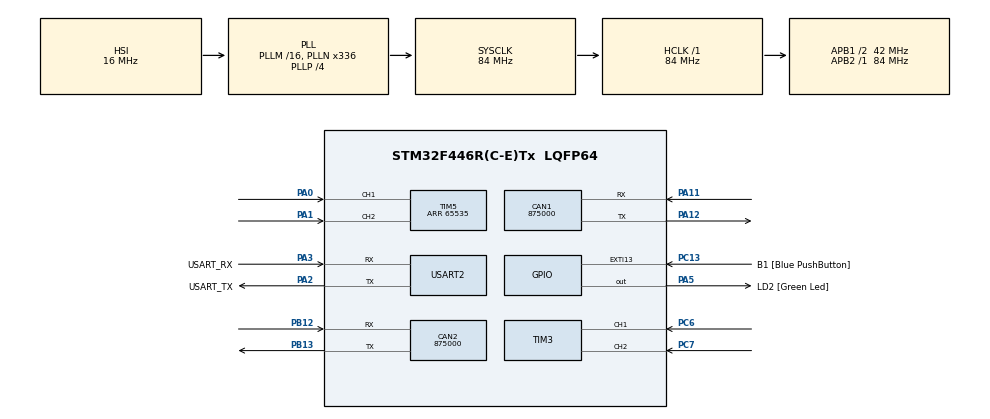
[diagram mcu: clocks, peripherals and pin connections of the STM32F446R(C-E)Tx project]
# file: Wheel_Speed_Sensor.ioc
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CAN1.CalculateBaudRate=875000
CAN1.CalculateTimeBit=1142
CAN1.CalculateTimeQuantum=380.95238095238096
CAN2.CalculateBaudRate=875000
CAN2.CalculateTimeBit=1142
CAN2.CalculateTimeQuantum=380.95238095238096
Mcu.Family=STM32F4
Mcu.Name=STM32F446R(C-E)Tx
Mcu.Package=LQFP64
NVIC.PriorityGroup=NVIC_PRIORITYGROUP_0
PA0-WKUP.Signal=S_TIM5_CH1
PA1.Signal=S_TIM5_CH2
PA11.Mode=CAN_Activate
PA11.Signal=CAN1_RX
PA12.Mode=CAN_Activate
PA12.Signal=CAN1_TX
PA13.GPIO_Label=TMS
PA13.Mode=Serial_Wire
PA13.Signal=SYS_JTMS-SWDIO
PA14.GPIO_Label=TCK
PA14.Mode=Serial_Wire
PA14.Signal=SYS_JTCK-SWCLK
PA2.GPIO_Label=USART_TX
PA2.Mode=Asynchronous
PA2.Signal=USART2_TX
PA3.GPIO_Label=USART_RX
PA3.Mode=Asynchronous
PA3.Signal=USART2_RX
PA5.GPIO_Label=LD2 [Green Led]
PA5.Signal=GPIO_Output
PB12.Mode=CAN_Activate
PB12.Signal=CAN2_RX
PB13.Mode=CAN_Activate
PB13.Signal=CAN2_TX
PB3.GPIO_Label=SWO
PB3.Signal=SYS_JTDO-SWO
PC13.GPIO_Label=B1 [Blue PushButton]
PC13.GPIO_ModeDefaultEXTI=GPIO_MODE_IT_FALLING
PC13.Signal=GPXTI13
PC14-OSC32_IN.Mode=LSE-External-Oscillator
PC14-OSC32_IN.Signal=RCC_OSC32_IN
PC15-OSC32_OUT.Mode=LSE-External-Oscillator
PC15-OSC32_OUT.Signal=RCC_OSC32_OUT
PC6.Signal=S_TIM3_CH1
PC7.Signal=S_TIM3_CH2
PH0-OSC_IN.Mode=HSE-External-Oscillator
PH0-OSC_IN.Signal=RCC_OSC_IN
PH1-OSC_OUT.Mode=HSE-External-Oscillator
PH1-OSC_OUT.Signal=RCC_OSC_OUT
ProjectManager.HeapSize=0x200
ProjectManager.StackSize=0x400
ProjectManager.TargetToolchain=STM32CubeIDE
RCC.48MHZClocksFreq_Value=84000000
RCC.AHBFreq_Value=84000000
RCC.APB1CLKDivider=RCC_HCLK_DIV2
RCC.APB1Freq_Value=42000000
RCC.APB1TimFreq_Value=84000000
RCC.APB2Freq_Value=84000000
RCC.APB2TimFreq_Value=84000000
RCC.CortexFreq_Value=84000000
RCC.FLatency-AdvancedSettings=FLASH_LATENCY_2
RCC.HCLKFreq_Value=84000000
RCC.HSE_VALUE=8000000
RCC.HSI_VALUE=16000000
RCC.PLLN=336
RCC.PLLP=RCC_PLLP_DIV4
RCC.SYSCLKFreq_VALUE=84000000
RCC.SYSCLKSource=RCC_SYSCLKSOURCE_PLLCLK
RCC.USBFreq_Value=168000000
RCC.VCOOutputFreq_Value=336000000
SH.S_TIM3_CH1.0=TIM3_CH1,Encoder_Interface
SH.S_TIM3_CH2.0=TIM3_CH2,Encoder_Interface
SH.S_TIM5_CH1.0=TIM5_CH1,Encoder_Interface
SH.S_TIM5_CH2.0=TIM5_CH2,Encoder_Interface
TIM3.AutoReloadPreload=TIM_AUTORELOAD_PRELOAD_ENABLE
TIM3.EncoderMode=TIM_ENCODERMODE_TI12
TIM5.AutoReloadPreload=TIM_AUTORELOAD_PRELOAD_ENABLE
TIM5.EncoderMode=TIM_ENCODERMODE_TI12
TIM5.Period=65535
TIM6.AutoReloadPreload=TIM_AUTORELOAD_PRELOAD_ENABLE
TIM6.Period=1000 - 1
TIM6.Prescaler=84 - 1
USART2.VirtualMode=VM_ASYNC
VP_TIM6_VS_ClockSourceINT.Mode=Enable_Timer
board=NUCLEO-F446RE

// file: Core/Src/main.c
/* USER CODE BEGIN Header */
/**
  ******************************************************************************
  * @file           : main.c
  * @brief          : Main program body
  ******************************************************************************
  * @attention
  *
  * Copyright (c) 2024 STMicroelectronics.
  * All rights reserved.
  *
  * This software is licensed under terms that can be found in the LICENSE file
  * in the root directory of this software component.
  * If no LICENSE file comes with this software, it is provided AS-IS.
  *
  ******************************************************************************
  */
/* USER CODE END Header */
#include "main.h"

/* USER CODE BEGIN PD */
#define TIMER_ELAPSED_HZ 1000 // # of times TIM6 elapses per second
#define TICKS_PER_ROTATION 84 * 4
#define RPM_to_MPH 0.06098555871
/* USER CODE END PD */

CAN_HandleTypeDef hcan1;
CAN_HandleTypeDef hcan2;

TIM_HandleTypeDef htim3;
TIM_HandleTypeDef htim5;
TIM_HandleTypeDef htim6;

UART_HandleTypeDef huart2;

/* USER CODE BEGIN PV */

// Create variables for Wheel Speed Sensor (WSS)

int32_t ticks_right = 0;
int32_t ticks_left = 0;

uint16_t wss_counter_right = 0;
uint16_t wss_counter_left = 0;

uint8_t wss_right = 0;
uint8_t wss_left = 0;

char direction_right = '+';
char direction_left = '+';

/* USER CODE END PV */

void SystemClock_Config(void);
static void MX_GPIO_Init(void);
static void MX_USART2_UART_Init(void);
static void MX_TIM3_Init(void);
static void MX_TIM5_Init(void);
static void MX_TIM6_Init(void);
static void MX_CAN1_Init(void);
static void MX_CAN2_Init(void);

/* USER CODE BEGIN 0 */

void UART_transmit(const char *string)
{
    HAL_UART_Transmit(&huart2, (uint8_t*)string, strlen(string), 1000);
}

void CAN_transmit()
{
	CAN_TxHeaderTypeDef TxHeader;
	uint8_t TxData[8];
	uint32_t TxMailbox;

	TxHeader.DLC = 8; // Data length
	TxHeader.IDE = CAN_ID_STD; // Standard ID
	TxHeader.RTR = CAN_RTR_DATA; // Data frame
	TxHeader.StdId = 0x545; // CAN ID
	TxHeader.ExtId = 0; // Not used with standard ID

	// Fill the data
	TxData[0] = wss_right;
	TxData[1] = wss_left;

	while (HAL_CAN_GetTxMailboxesFreeLevel(&hcan1) == 0) {}

	if (HAL_CAN_AddTxMessage(&hcan1, &TxHeader, TxData, &TxMailbox) != HAL_OK)
	{
		// Transmission request error
		char msg[50];
		sprintf(msg, "CAN transmit error");
		transmit_uart(msg);
		Error_Handler();
	}
}

void update_WSS_ticks(int32_t *ticks, uint16_t *prev_counter, TIM_HandleTypeDef *htim)
{
	uint16_t counter = (uint16_t) __HAL_TIM_GET_COUNTER(htim);

	if (~__HAL_TIM_IS_TIM_COUNTING_DOWN(htim)) // Check if the wheel is moving forward
	{
		if (counter > *prev_counter)
		{
			*ticks = counter - *prev_counter;
		}
		else // Check if the timer has reloaded
		{
			*ticks = counter + (__HAL_TIM_GET_AUTORELOAD(htim) - *prev_counter);
		}
	}
	else // Reverse direction
	{
		if (counter < *prev_counter)
		{
			*ticks = counter - *prev_counter;
		}
		else
		{
			*ticks = counter - (__HAL_TIM_GET_AUTORELOAD(htim) + *prev_counter);
		}
	}

	*prev_counter = counter;
}

void handle_reverse_ticks(int32_t *ticks, char *direction)
{
	if (*ticks < 0)
	{
		*ticks = 0 - *ticks; // Make the ticks positive
		*direction = '-';
	}
	else
	{
		*direction = '+';
	}
}

void HAL_TIM_PeriodElapsedCallback(TIM_HandleTypeDef *htim)
{
	// Once the 1KHz timer for sending sensor data elapses
	if (htim->Instance == TIM6)
	{

		// Update the tick values
		update_WSS_ticks(&ticks_right, &wss_counter_right, &htim3);
		update_WSS_ticks(&ticks_left, &wss_counter_left, &htim5);

		handle_reverse_ticks(&ticks_right, &direction_right);
		handle_reverse_ticks(&ticks_left, &direction_left);

		// Set the current wheel speed
		wss_right = (uint8_t) ((float) ticks_right * TIMER_ELAPSED_HZ / TICKS_PER_ROTATION * 60);
		wss_left = (uint8_t) ((float) ticks_left * TIMER_ELAPSED_HZ / TICKS_PER_ROTATION * 60);

		// Send the wheel speed data
		char send[50];
		sprintf(send, "Right: %c%d rpm  %d mph\tLeft: %c%d  %d mph\r\n", direction_right, wss_right, direction_left, wss_left, (wss_right * RPM_to_MPH), (wss_left * RPM_to_MPH));
		transmit_uart(send);

		CAN_transmit();

	}

}

/* USER CODE END 0 */

int main(void)
{

  /* MCU Configuration--------------------------------------------------------*/

  /* Reset of all peripherals, Initializes the Flash interface and the Systick. */
  HAL_Init();

  /* Configure the system clock */
  SystemClock_Config();

  /* Initialize all configured peripherals */
  MX_GPIO_Init();
  MX_USART2_UART_Init();
  MX_TIM3_Init();
  MX_TIM5_Init();
  MX_TIM6_Init();
  MX_CAN1_Init();
  MX_CAN2_Init();
  /* USER CODE BEGIN 2 */

  // Start Encoder Timers for the Wheel Speed Sensors
  HAL_TIM_Encoder_Start(&htim3, TIM_CHANNEL_ALL);
  HAL_TIM_Encoder_Start(&htim5, TIM_CHANNEL_ALL);

  /* USER CODE END 2 */

  /* Infinite loop */
  while (1)
  {

  }
}

void SystemClock_Config(void)
{
  RCC_OscInitTypeDef RCC_OscInitStruct = {0};
  RCC_ClkInitTypeDef RCC_ClkInitStruct = {0};

  /** Configure the main internal regulator output voltage
  */
  __HAL_RCC_PWR_CLK_ENABLE();
  __HAL_PWR_VOLTAGESCALING_CONFIG(PWR_REGULATOR_VOLTAGE_SCALE3);

  /** Initializes the RCC Oscillators according to the specified parameters
  * in the RCC_OscInitTypeDef structure.
  */
  RCC_OscInitStruct.OscillatorType = RCC_OSCILLATORTYPE_HSI;
  RCC_OscInitStruct.HSIState = RCC_HSI_ON;
  RCC_OscInitStruct.HSICalibrationValue = RCC_HSICALIBRATION_DEFAULT;
  RCC_OscInitStruct.PLL.PLLState = RCC_PLL_ON;
  RCC_OscInitStruct.PLL.PLLSource = RCC_PLLSOURCE_HSI;
  RCC_OscInitStruct.PLL.PLLM = 16;
  RCC_OscInitStruct.PLL.PLLN = 336;
  RCC_OscInitStruct.PLL.PLLP = RCC_PLLP_DIV4;
  RCC_OscInitStruct.PLL.PLLQ = 2;
  RCC_OscInitStruct.PLL.PLLR = 2;
  if (HAL_RCC_OscConfig(&RCC_OscInitStruct) != HAL_OK)
  {
    Error_Handler();
  }

  /** Initializes the CPU, AHB and APB buses clocks
  */
  RCC_ClkInitStruct.ClockType = RCC_CLOCKTYPE_HCLK|RCC_CLOCKTYPE_SYSCLK
                              |RCC_CLOCKTYPE_PCLK1|RCC_CLOCKTYPE_PCLK2;
  RCC_ClkInitStruct.SYSCLKSource = RCC_SYSCLKSOURCE_PLLCLK;
  RCC_ClkInitStruct.AHBCLKDivider = RCC_SYSCLK_DIV1;
  RCC_ClkInitStruct.APB1CLKDivider = RCC_HCLK_DIV2;
  RCC_ClkInitStruct.APB2CLKDivider = RCC_HCLK_DIV1;

  if (HAL_RCC_ClockConfig(&RCC_ClkInitStruct, FLASH_LATENCY_2) != HAL_OK)
  {
    Error_Handler();
  }
}

static void MX_CAN1_Init(void)
{

  hcan1.Instance = CAN1;
  hcan1.Init.Prescaler = 16;
  hcan1.Init.Mode = CAN_MODE_NORMAL;
  hcan1.Init.SyncJumpWidth = CAN_SJW_1TQ;
  hcan1.Init.TimeSeg1 = CAN_BS1_1TQ;
  hcan1.Init.TimeSeg2 = CAN_BS2_1TQ;
  hcan1.Init.TimeTriggeredMode = DISABLE;
  hcan1.Init.AutoBusOff = DISABLE;
  hcan1.Init.AutoWakeUp = DISABLE;
  hcan1.Init.AutoRetransmission = DISABLE;
  hcan1.Init.ReceiveFifoLocked = DISABLE;
  hcan1.Init.TransmitFifoPriority = DISABLE;
  if (HAL_CAN_Init(&hcan1) != HAL_OK)
  {
    Error_Handler();
  }

}

static void MX_CAN2_Init(void)
{

  hcan2.Instance = CAN2;
  hcan2.Init.Prescaler = 16;
  hcan2.Init.Mode = CAN_MODE_NORMAL;
  hcan2.Init.SyncJumpWidth = CAN_SJW_1TQ;
  hcan2.Init.TimeSeg1 = CAN_BS1_1TQ;
  hcan2.Init.TimeSeg2 = CAN_BS2_1TQ;
  hcan2.Init.TimeTriggeredMode = DISABLE;
  hcan2.Init.AutoBusOff = DISABLE;
  hcan2.Init.AutoWakeUp = DISABLE;
  hcan2.Init.AutoRetransmission = DISABLE;
  hcan2.Init.ReceiveFifoLocked = DISABLE;
  hcan2.Init.TransmitFifoPriority = DISABLE;
  if (HAL_CAN_Init(&hcan2) != HAL_OK)
  {
    Error_Handler();
  }

}

static void MX_TIM3_Init(void)
{

  TIM_Encoder_InitTypeDef sConfig = {0};
  TIM_MasterConfigTypeDef sMasterConfig = {0};

  htim3.Instance = TIM3;
  htim3.Init.Prescaler = 0;
  htim3.Init.CounterMode = TIM_COUNTERMODE_UP;
  htim3.Init.Period = 65535;
  htim3.Init.ClockDivision = TIM_CLOCKDIVISION_DIV1;
  htim3.Init.AutoReloadPreload = TIM_AUTORELOAD_PRELOAD_ENABLE;
  sConfig.EncoderMode = TIM_ENCODERMODE_TI12;
  sConfig.IC1Polarity = TIM_ICPOLARITY_RISING;
  sConfig.IC1Selection = TIM_ICSELECTION_DIRECTTI;
  sConfig.IC1Prescaler = TIM_ICPSC_DIV1;
  sConfig.IC1Filter = 0;
  sConfig.IC2Polarity = TIM_ICPOLARITY_RISING;
  sConfig.IC2Selection = TIM_ICSELECTION_DIRECTTI;
  sConfig.IC2Prescaler = TIM_ICPSC_DIV1;
  sConfig.IC2Filter = 0;
  if (HAL_TIM_Encoder_Init(&htim3, &sConfig) != HAL_OK)
  {
    Error_Handler();
  }
  sMasterConfig.MasterOutputTrigger = TIM_TRGO_RESET;
  sMasterConfig.MasterSlaveMode = TIM_MASTERSLAVEMODE_DISABLE;
  if (HAL_TIMEx_MasterConfigSynchronization(&htim3, &sMasterConfig) != HAL_OK)
  {
    Error_Handler();
  }

}

static void MX_TIM5_Init(void)
{

  TIM_Encoder_InitTypeDef sConfig = {0};
  TIM_MasterConfigTypeDef sMasterConfig = {0};

  htim5.Instance = TIM5;
  htim5.Init.Prescaler = 0;
  htim5.Init.CounterMode = TIM_COUNTERMODE_UP;
  htim5.Init.Period = 65535;
  htim5.Init.ClockDivision = TIM_CLOCKDIVISION_DIV1;
  htim5.Init.AutoReloadPreload = TIM_AUTORELOAD_PRELOAD_ENABLE;
  sConfig.EncoderMode = TIM_ENCODERMODE_TI12;
  sConfig.IC1Polarity = TIM_ICPOLARITY_RISING;
  sConfig.IC1Selection = TIM_ICSELECTION_DIRECTTI;
  sConfig.IC1Prescaler = TIM_ICPSC_DIV1;
  sConfig.IC1Filter = 0;
  sConfig.IC2Polarity = TIM_ICPOLARITY_RISING;
  sConfig.IC2Selection = TIM_ICSELECTION_DIRECTTI;
  sConfig.IC2Prescaler = TIM_ICPSC_DIV1;
  sConfig.IC2Filter = 0;
  if (HAL_TIM_Encoder_Init(&htim5, &sConfig) != HAL_OK)
  {
    Error_Handler();
  }
  sMasterConfig.MasterOutputTrigger = TIM_TRGO_RESET;
  sMasterConfig.MasterSlaveMode = TIM_MASTERSLAVEMODE_DISABLE;
  if (HAL_TIMEx_MasterConfigSynchronization(&htim5, &sMasterConfig) != HAL_OK)
  {
    Error_Handler();
  }

}

static void MX_TIM6_Init(void)
{

  TIM_MasterConfigTypeDef sMasterConfig = {0};

  htim6.Instance = TIM6;
  htim6.Init.Prescaler = 84 - 1;
  htim6.Init.CounterMode = TIM_COUNTERMODE_UP;
  htim6.Init.Period = 1000 - 1;
  htim6.Init.AutoReloadPreload = TIM_AUTORELOAD_PRELOAD_ENABLE;
  if (HAL_TIM_Base_Init(&htim6) != HAL_OK)
  {
    Error_Handler();
  }
  sMasterConfig.MasterOutputTrigger = TIM_TRGO_RESET;
  sMasterConfig.MasterSlaveMode = TIM_MASTERSLAVEMODE_DISABLE;
  if (HAL_TIMEx_MasterConfigSynchronization(&htim6, &sMasterConfig) != HAL_OK)
  {
    Error_Handler();
  }

}

static void MX_USART2_UART_Init(void)
{

  huart2.Instance = USART2;
  huart2.Init.BaudRate = 115200;
  huart2.Init.WordLength = UART_WORDLENGTH_8B;
  huart2.Init.StopBits = UART_STOPBITS_1;
  huart2.Init.Parity = UART_PARITY_NONE;
  huart2.Init.Mode = UART_MODE_TX_RX;
  huart2.Init.HwFlowCtl = UART_HWCONTROL_NONE;
  huart2.Init.OverSampling = UART_OVERSAMPLING_16;
  if (HAL_UART_Init(&huart2) != HAL_OK)
  {
    Error_Handler();
  }

}

static void MX_GPIO_Init(void)
{
  GPIO_InitTypeDef GPIO_InitStruct = {0};

  /* GPIO Ports Clock Enable */
  __HAL_RCC_GPIOC_CLK_ENABLE();
  __HAL_RCC_GPIOH_CLK_ENABLE();
  __HAL_RCC_GPIOA_CLK_ENABLE();
  __HAL_RCC_GPIOB_CLK_ENABLE();

  /*Configure GPIO pin Output Level */
  HAL_GPIO_WritePin(LD2_GPIO_Port, LD2_Pin, GPIO_PIN_RESET);

  /*Configure GPIO pin : B1_Pin */
  GPIO_InitStruct.Pin = B1_Pin;
  GPIO_InitStruct.Mode = GPIO_MODE_IT_FALLING;
  GPIO_InitStruct.Pull = GPIO_NOPULL;
  HAL_GPIO_Init(B1_GPIO_Port, &GPIO_InitStruct);

  /*Configure GPIO pin : LD2_Pin */
  GPIO_InitStruct.Pin = LD2_Pin;
  GPIO_InitStruct.Mode = GPIO_MODE_OUTPUT_PP;
  GPIO_InitStruct.Pull = GPIO_NOPULL;
  GPIO_InitStruct.Speed = GPIO_SPEED_FREQ_LOW;
  HAL_GPIO_Init(LD2_GPIO_Port, &GPIO_InitStruct);

}

void Error_Handler(void)
{
  __disable_irq();
  while (1)
  {
  }
}
